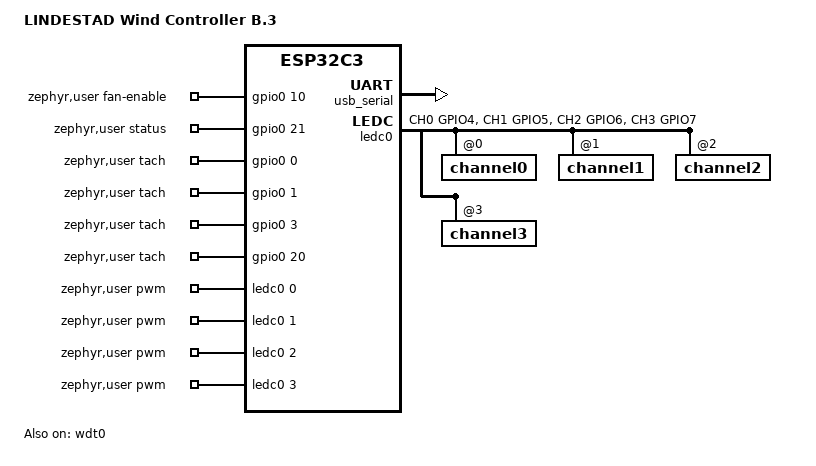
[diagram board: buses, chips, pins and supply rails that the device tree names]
/dts-v1/;
#include <espressif/esp32c3/esp32c3_wroom_n4.dtsi>
#include <espressif/partitions_0x0_default.dtsi>
#include <zephyr/dt-bindings/pinctrl/esp-pinctrl-common.h>
#include <zephyr/dt-bindings/pinctrl/esp32c3-pinctrl.h>
#include <zephyr/dt-bindings/pinctrl/esp32c3-gpio-sigmap.h>
#include <zephyr/dt-bindings/gpio/gpio.h>
#include <zephyr/dt-bindings/pwm/pwm.h>

/ {
    model = "LINDESTAD Wind Controller B.3";
    compatible = "lindestad,wind-controller";
    chosen {
        zephyr,sram = &sram1;
        zephyr,flash = &flash0;
        zephyr,code-partition = &slot0_partition;
    };
    zephyr,user {
        fan-enable-gpios = <&gpio0 10 GPIO_ACTIVE_HIGH>;
        status-gpios = <&gpio0 21 GPIO_ACTIVE_HIGH>;
        tach-gpios = <&gpio0 0 GPIO_ACTIVE_HIGH>, <&gpio0 1 GPIO_ACTIVE_HIGH>,
                     <&gpio0 3 GPIO_ACTIVE_HIGH>, <&gpio0 20 GPIO_ACTIVE_HIGH>;
        pwms = <&ledc0 0 PWM_NSEC(40000) PWM_POLARITY_NORMAL>,
               <&ledc0 1 PWM_NSEC(40000) PWM_POLARITY_NORMAL>,
               <&ledc0 2 PWM_NSEC(40000) PWM_POLARITY_NORMAL>,
               <&ledc0 3 PWM_NSEC(40000) PWM_POLARITY_NORMAL>;
    };
};
&uart0 { status = "disabled"; };
&uart1 { status = "disabled"; };
&wifi { status = "disabled"; };
&esp32_bt_hci { status = "disabled"; };
&usb_serial { status = "okay"; };
&wdt0 { status = "okay"; };
&pinctrl {
    wind_pwm: wind_pwm {
        group1 {
            pinmux = <LEDC_CH0_GPIO4>, <LEDC_CH1_GPIO5>,
                     <LEDC_CH2_GPIO6>, <LEDC_CH3_GPIO7>;
            output-enable;
        };
    };
};
&ledc0 {
    status = "okay";
    pinctrl-0 = <&wind_pwm>;
    pinctrl-names = "default";
    #address-cells = <1>;
    #size-cells = <0>;
    // Inverted sets the driver's initial stopped output high. Runtime calls
    // use NORMAL polarity and explicit gate duty: inversion occurs once.
    channel0@0 { reg = <0>; timer = <0>; inverted; };
    channel1@1 { reg = <1>; timer = <0>; inverted; };
    channel2@2 { reg = <2>; timer = <0>; inverted; };
    channel3@3 { reg = <3>; timer = <0>; inverted; };
};
